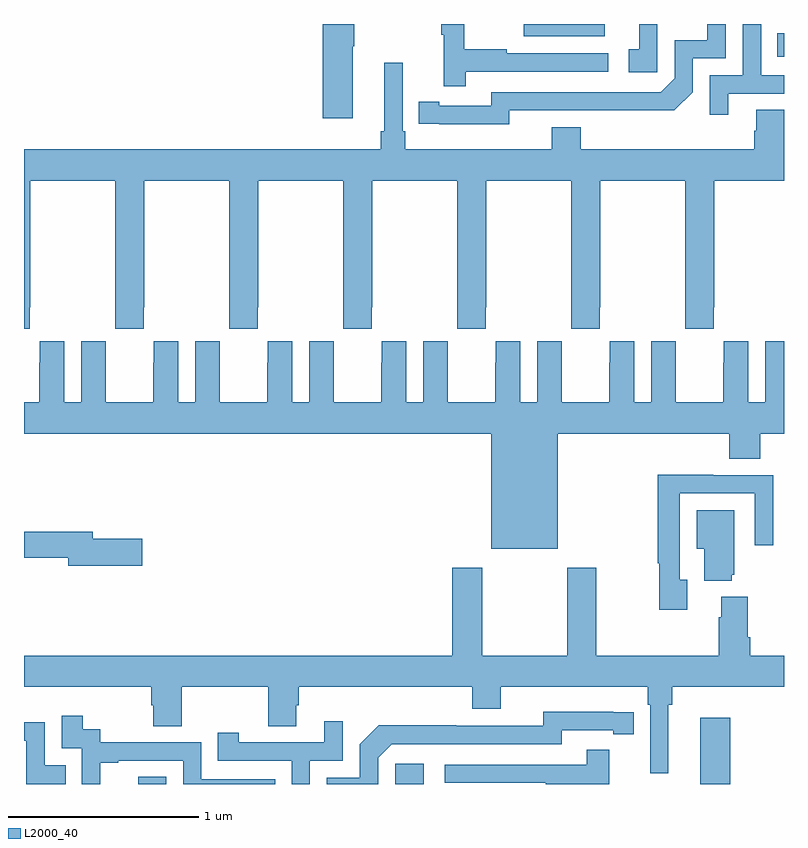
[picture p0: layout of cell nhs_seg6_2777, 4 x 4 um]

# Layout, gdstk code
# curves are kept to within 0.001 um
import gdstk
lib = gdstk.Library(unit=1e-6, precision=1e-09)
def R(c, l, rs):  # rectangles x0, y0, x1, y1
    for r in rs: c.add(gdstk.rectangle(r[:2], r[2:], *l))
def P(c, l, *ps):  # polygons
    for p in ps: c.add(gdstk.Polygon(p, *l))
L2000_40 = (2000, 40)

nhs_seg6_2777 = lib.new_cell('nhs_seg6_2777')
R(nhs_seg6_2777, L2000_40, [(275.601,937.5,275.748,937.537), (276.954,937.5,277.105,937.606), (278.558,937.5,278.717,937.849), (278.965,941.328,279,941.451), (277.629,941.435,278.056,941.5)])
P(nhs_seg6_2777, L2000_40, [(277.554,941.046),(278.422,941.045),(278.52,941.142),(278.52,941.319),(278.694,941.319),(278.694,941.5),(278.597,941.5),(278.597,941.415),(278.424,941.415),(278.424,941.214),(278.352,941.142),(277.458,941.142),(277.458,941.07),(277.186,941.07),(277.186,941.09),(277.078,941.09),(277.078,940.974),(277.554,940.973)],
  [(276.73,941.383),(276.738,941.383),(276.738,941.5),(276.572,941.5),(276.572,941.004),(276.73,941.004)],
  [(277.325,941.25),(278.074,941.25),(278.074,941.346),(277.541,941.346),(277.541,941.366),(277.318,941.366),(277.318,941.5),(277.197,941.5),(277.197,941.443),(277.208,941.443),(277.208,941.172),(277.325,941.172)],
  [(278.334,941.5),(278.237,941.5),(278.237,941.367),(278.184,941.367),(278.184,941.247),(278.334,941.247)],
  [(278.707,941.133),(279,941.133),(279,941.229),(278.88,941.229),(278.88,941.5),(278.784,941.5),(278.784,941.229),(278.61,941.229),(278.61,941.022),(278.707,941.022)],
  [(275,939.897),(275.031,939.897),(275.031,940.009),(275.034,940.009),(275.034,940.676),(275.479,940.676),(275.479,940.009),(275.481,940.009),(275.481,939.897),(275.631,939.897),(275.631,940.009),(275.634,940.009),(275.634,940.676),(276.079,940.676),(276.079,940.009),(276.081,940.009),(276.081,939.897),(276.231,939.897),(276.231,940.009),(276.234,940.009),(276.234,940.676),(276.679,940.676),(276.679,940.009),(276.681,940.009),(276.681,939.897),(276.831,939.897),(276.831,940.009),(276.834,940.009),(276.834,940.676),(277.279,940.676),(277.279,940.009),(277.281,940.009),(277.281,939.897),(277.431,939.897),(277.431,940.009),(277.434,940.009),(277.434,940.676),(277.879,940.676),(277.879,940.009),(277.881,940.009),(277.881,939.897),(278.031,939.897),(278.031,940.009),(278.034,940.009),(278.034,940.676),(278.479,940.676),(278.479,940.009),(278.481,940.009),(278.481,939.897),(278.631,939.897),(278.631,940.009),(278.634,940.009),(278.634,940.676),(279,940.676),(279,941.048),(278.855,941.048),(278.855,940.938),(278.843,940.938),(278.843,940.84),(277.931,940.84),(277.931,940.957),(277.778,940.957),(277.778,940.84),(277.007,940.84),(277.007,940.936),(276.993,940.936),(276.993,941.296),(276.896,941.296),(276.896,940.936),(276.877,940.936),(276.877,940.84),(275,940.84)],
  [(277.81,939.344),(278.711,939.344),(278.711,939.211),(278.876,939.211),(278.876,939.344),(279,939.344),(279,939.829),(278.9,939.829),(278.9,939.508),(278.812,939.508),(278.812,939.829),(278.682,939.829),(278.682,939.716),(278.681,939.716),(278.681,939.508),(278.431,939.508),(278.431,939.716),(278.43,939.716),(278.43,939.829),(278.3,939.829),(278.3,939.508),(278.212,939.508),(278.212,939.829),(278.082,939.829),(278.082,939.716),(278.081,939.716),(278.081,939.508),(277.831,939.508),(277.831,939.716),(277.83,939.716),(277.83,939.829),(277.7,939.829),(277.7,939.508),(277.612,939.508),(277.612,939.829),(277.482,939.829),(277.482,939.716),(277.481,939.716),(277.481,939.508),(277.231,939.508),(277.231,939.716),(277.23,939.716),(277.23,939.829),(277.1,939.829),(277.1,939.508),(277.012,939.508),(277.012,939.829),(276.882,939.829),(276.882,939.716),(276.881,939.716),(276.881,939.508),(276.631,939.508),(276.631,939.716),(276.63,939.716),(276.63,939.829),(276.5,939.829),(276.5,939.508),(276.412,939.508),(276.412,939.829),(276.282,939.829),(276.282,939.716),(276.281,939.716),(276.281,939.508),(276.031,939.508),(276.031,939.716),(276.03,939.716),(276.03,939.829),(275.9,939.829),(275.9,939.508),(275.812,939.508),(275.812,939.829),(275.682,939.829),(275.682,939.716),(275.681,939.716),(275.681,939.508),(275.431,939.508),(275.431,939.716),(275.43,939.716),(275.43,939.829),(275.3,939.829),(275.3,939.508),(275.212,939.508),(275.212,939.829),(275.082,939.829),(275.082,939.716),(275.081,939.716),(275.081,939.508),(275,939.508),(275,939.344),(277.46,939.344),(277.46,938.738),(277.81,938.738)],
  [(278.491,938.574),(278.451,938.574),(278.451,939.03),(278.847,939.03),(278.847,938.757),(278.943,938.757),(278.943,939.126),(278.627,939.126),(278.627,939.128),(278.335,939.128),(278.335,938.662),(278.343,938.662),(278.343,938.418),(278.491,938.418)],
  [(278.726,938.601),(278.737,938.601),(278.737,938.941),(278.54,938.941),(278.54,938.738),(278.579,938.738),(278.579,938.57),(278.726,938.57)],
  [(275.623,938.792),(275.362,938.792),(275.362,938.828),(275,938.828),(275,938.692),(275.234,938.692),(275.234,938.65),(275.623,938.65)],
  [(278.392,937.916),(278.411,937.916),(278.411,938.012),(279,938.012),(279,938.176),(278.822,938.176),(278.822,938.272),(278.809,938.272),(278.809,938.485),(278.669,938.485),(278.669,938.378),(278.657,938.378),(278.657,938.176),(278.013,938.176),(278.013,938.638),(277.858,938.638),(277.858,938.176),(277.413,938.176),(277.413,938.638),(277.253,938.638),(277.253,938.176),(275,938.176),(275,938.012),(275.669,938.012),(275.669,937.914),(275.681,937.914),(275.681,937.804),(275.829,937.804),(275.829,938.012),(276.286,938.012),(276.286,937.804),(276.433,937.804),(276.433,937.914),(276.446,937.914),(276.446,938.012),(277.358,938.012),(277.358,937.895),(277.51,937.895),(277.51,938.012),(278.282,938.012),(278.282,937.916),(278.295,937.916),(278.295,937.557),(278.392,937.557)],
  [(276.864,937.638),(276.936,937.71),(277.83,937.71),(277.83,937.782),(278.102,937.782),(278.102,937.762),(278.21,937.762),(278.21,937.878),(277.734,937.879),(277.734,937.806),(277.274,937.806),(277.274,937.808),(276.866,937.808),(276.768,937.71),(276.768,937.533),(276.594,937.533),(276.594,937.5),(276.864,937.5)],
  [(275.402,937.611),(275.497,937.611),(275.497,937.623),(275.838,937.623),(275.838,937.5),(276.323,937.5),(276.323,937.524),(275.934,937.524),(275.934,937.719),(275.4,937.719),(275.4,937.788),(275.308,937.788),(275.308,937.858),(275.199,937.858),(275.199,937.689),(275.304,937.689),(275.304,937.5),(275.402,937.5)],
  [(276.504,937.623),(276.678,937.623),(276.678,937.831),(276.581,937.831),(276.581,937.719),(276.13,937.719),(276.13,937.771),(276.019,937.771),(276.019,937.623),(276.408,937.623),(276.408,937.5),(276.504,937.5)],
  [(275.219,937.599),(275.109,937.599),(275.109,937.824),(275,937.824),(275,937.728),(275.013,937.728),(275.013,937.5),(275.219,937.5)],
  [(278.081,937.681),(277.963,937.681),(277.963,937.602),(277.215,937.602),(277.215,937.506),(277.747,937.506),(277.747,937.5),(278.081,937.5)])

lib.write_gds('nhs_seg6_2777.gds')
